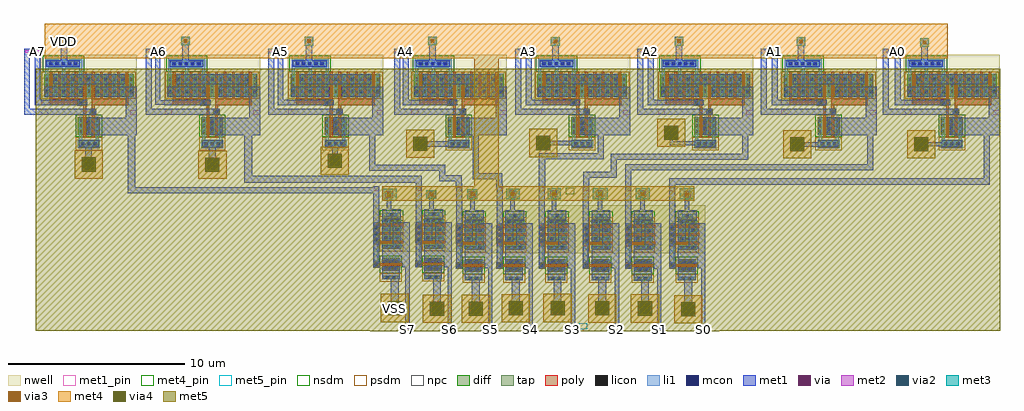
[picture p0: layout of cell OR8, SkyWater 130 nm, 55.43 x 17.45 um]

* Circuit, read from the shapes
.subckt OR8 A0 A1 A2 A3 A4 A5 A6 A7 B0 B1 B2 B3 B4 B5 B6 B7 S0 S1 S2 S3 S4 S5 S6 S7 VDD VSS
XM1 NOT8_0/A7 A7 VSS VSS sky130_fd_pr__nfet_01v8 w=1 l=0.15
XM2 VSS B7 NOT8_0/A7 VSS sky130_fd_pr__nfet_01v8 w=1 l=0.15
XM3 NOT8_0/A6 A6 VSS VSS sky130_fd_pr__nfet_01v8 w=1 l=0.15
XM4 VSS B6 NOT8_0/A6 VSS sky130_fd_pr__nfet_01v8 w=1 l=0.15
XM5 NOT8_0/A5 A5 VSS VSS sky130_fd_pr__nfet_01v8 w=1 l=0.15
XM6 VSS B5 NOT8_0/A5 VSS sky130_fd_pr__nfet_01v8 w=1 l=0.15
XM7 S7 NOT8_0/A7 VSS VSS sky130_fd_pr__nfet_01v8 w=1 l=0.15
XM8 S6 NOT8_0/A6 VSS VSS sky130_fd_pr__nfet_01v8 w=1 l=0.15
XM9 NOT8_0/A4 A4 VSS VSS sky130_fd_pr__nfet_01v8 w=1 l=0.15
XM10 VSS B4 NOT8_0/A4 VSS sky130_fd_pr__nfet_01v8 w=1 l=0.15
XM11 S5 NOT8_0/A5 VSS VSS sky130_fd_pr__nfet_01v8 w=1 l=0.15
XM12 S4 NOT8_0/A4 VSS VSS sky130_fd_pr__nfet_01v8 w=1 l=0.15
XM13 S3 NOT8_0/A3 VSS VSS sky130_fd_pr__nfet_01v8 w=1 l=0.15
XM14 NOT8_0/A3 A3 VSS VSS sky130_fd_pr__nfet_01v8 w=1 l=0.15
XM15 VSS B3 NOT8_0/A3 VSS sky130_fd_pr__nfet_01v8 w=1 l=0.15
XM16 S2 NOT8_0/A2 VSS VSS sky130_fd_pr__nfet_01v8 w=1 l=0.15
XM17 S1 NOT8_0/A1 VSS VSS sky130_fd_pr__nfet_01v8 w=1 l=0.15
XM18 S0 NOT8_0/A0 VSS VSS sky130_fd_pr__nfet_01v8 w=1 l=0.15
XM19 NOT8_0/A2 A2 VSS VSS sky130_fd_pr__nfet_01v8 w=1 l=0.15
XM20 VSS B2 NOT8_0/A2 VSS sky130_fd_pr__nfet_01v8 w=1 l=0.15
XM21 NOT8_0/A1 A1 VSS VSS sky130_fd_pr__nfet_01v8 w=1 l=0.15
XM22 VSS B1 NOT8_0/A1 VSS sky130_fd_pr__nfet_01v8 w=1 l=0.15
XM23 NOT8_0/A0 A0 VSS VSS sky130_fd_pr__nfet_01v8 w=1 l=0.15
XM24 VSS B0 NOT8_0/A0 VSS sky130_fd_pr__nfet_01v8 w=1 l=0.15
XM25 n1 A7 VDD VDD sky130_fd_pr__pfet_01v8 w=1.28 l=0.15 m=5
XM26 NOT8_0/A7 B7 n1 VDD sky130_fd_pr__pfet_01v8 w=1.28 l=0.15 m=5
XM27 n2 A6 VDD VDD sky130_fd_pr__pfet_01v8 w=1.28 l=0.15 m=5
XM28 NOT8_0/A6 B6 n2 VDD sky130_fd_pr__pfet_01v8 w=1.28 l=0.15 m=5
XM29 n3 A5 VDD VDD sky130_fd_pr__pfet_01v8 w=1.28 l=0.15 m=5
XM30 NOT8_0/A5 B5 n3 VDD sky130_fd_pr__pfet_01v8 w=1.28 l=0.15 m=5
XM31 VDD NOT8_0/A7 S7 VDD sky130_fd_pr__pfet_01v8 w=1.07 l=0.15 m=3
XM32 n4 A4 VDD VDD sky130_fd_pr__pfet_01v8 w=1.28 l=0.15 m=5
XM33 VDD NOT8_0/A6 S6 VDD sky130_fd_pr__pfet_01v8 w=1.07 l=0.15 m=3
XM34 NOT8_0/A4 B4 n4 VDD sky130_fd_pr__pfet_01v8 w=1.28 l=0.15 m=5
XM35 VDD NOT8_0/A5 S5 VDD sky130_fd_pr__pfet_01v8 w=1.07 l=0.15 m=3
XM36 VDD NOT8_0/A4 S4 VDD sky130_fd_pr__pfet_01v8 w=1.07 l=0.15 m=3
XM37 n5 A3 VDD VDD sky130_fd_pr__pfet_01v8 w=1.28 l=0.15 m=5
XM38 VDD NOT8_0/A3 S3 VDD sky130_fd_pr__pfet_01v8 w=1.07 l=0.15 m=3
XM39 NOT8_0/A3 B3 n5 VDD sky130_fd_pr__pfet_01v8 w=1.28 l=0.15 m=5
XM40 VDD NOT8_0/A2 S2 VDD sky130_fd_pr__pfet_01v8 w=1.07 l=0.15 m=3
XM41 VDD NOT8_0/A1 S1 VDD sky130_fd_pr__pfet_01v8 w=1.07 l=0.15 m=3
XM42 n6 A2 VDD VDD sky130_fd_pr__pfet_01v8 w=1.28 l=0.15 m=5
XM43 VDD NOT8_0/A0 S0 VDD sky130_fd_pr__pfet_01v8 w=1.07 l=0.15 m=3
XM44 NOT8_0/A2 B2 n6 VDD sky130_fd_pr__pfet_01v8 w=1.28 l=0.15 m=5
XM45 n7 A1 VDD VDD sky130_fd_pr__pfet_01v8 w=1.28 l=0.15 m=5
XM46 NOT8_0/A1 B1 n7 VDD sky130_fd_pr__pfet_01v8 w=1.28 l=0.15 m=5
XM47 n8 A0 VDD VDD sky130_fd_pr__pfet_01v8 w=1.28 l=0.15 m=5
XM48 NOT8_0/A0 B0 n8 VDD sky130_fd_pr__pfet_01v8 w=1.28 l=0.15 m=5
.ends

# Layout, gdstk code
from math import pi, radians
import gdstk
lib = gdstk.Library(unit=1e-6, precision=1e-09)
def R(c, l, rs):  # rectangles x0, y0, x1, y1
    for r in rs: c.add(gdstk.rectangle(r[:2], r[2:], *l))
def A(c, l, x, y, w, h, nx, ny, dx, dy):  # array of equal rectangles
    R(c, l, [(x+i*dx, y+j*dy, x+i*dx+w, y+j*dy+h) for i in range(nx) for j in range(ny)])
nwell = (64, 20)
diff = (65, 20)
tap = (65, 44)
poly = (66, 20)
licon = (66, 44)
li1 = (67, 20)
mcon = (67, 44)
met1_pin = (68, 16)
met1 = (68, 20)
via = (68, 44)
met2 = (69, 20)
via2 = (69, 44)
met3 = (70, 20)
via3 = (70, 44)
met4_pin = (71, 16)
met4 = (71, 20)
via4 = (71, 44)
met5_pin = (72, 16)
met5 = (72, 20)
nsdm = (93, 44)
psdm = (94, 20)
npc = (95, 20)

sky130_fd_pr__nfet_01v8_ = lib.new_cell('sky130_fd_pr__nfet_01v8_6H9P4D')
R(sky130_fd_pr__nfet_01v8_, diff, [(-0.365,-0.5,0.365,0.5)])
R(sky130_fd_pr__nfet_01v8_, poly, [(-0.075,-0.63,0.075,0.63)])
A(sky130_fd_pr__nfet_01v8_, licon, -0.305, -0.425, 0.17, 0.17, 1, 3, 0, 0.34)
A(sky130_fd_pr__nfet_01v8_, licon, 0.135, -0.425, 0.17, 0.17, 1, 3, 0, 0.34)
R(sky130_fd_pr__nfet_01v8_, li1, [(-0.305,-0.52,-0.135,0.52), (0.135,-0.52,0.305,0.52)])
R(sky130_fd_pr__nfet_01v8_, mcon, [(-0.305,-0.265,-0.135,-0.095), (0.135,-0.265,0.305,-0.095), (-0.305,0.095,-0.135,0.265), (0.135,0.095,0.305,0.265)])
R(sky130_fd_pr__nfet_01v8_, met1, [(-0.335,-0.5,-0.105,0.5), (0.105,-0.5,0.335,0.5)])
R(sky130_fd_pr__nfet_01v8_, nsdm, [(-0.49,-0.625,0.49,0.625)])

efepmos_w107_l15_f3 = lib.new_cell('efepmos_W107-L15-F3')
R(efepmos_w107_l15_f3, nwell, [(-1.045,-1.035,1.045,0.845)])
R(efepmos_w107_l15_f3, diff, [(-0.865,-0.535,0.865,0.535)])
A(efepmos_w107_l15_f3, poly, -0.555, -0.69, 0.15, 1.355, 3, 1, 0.48, 0)
R(efepmos_w107_l15_f3, poly, [(-0.645,-1.02,0.645,-0.69)])
A(efepmos_w107_l15_f3, licon, -0.425, -0.94, 0.17, 0.17, 3, 1, 0.34, 0)
A(efepmos_w107_l15_f3, licon, -0.805, -0.425, 0.17, 0.17, 1, 3, 0, 0.34)
A(efepmos_w107_l15_f3, licon, 0.155, -0.425, 0.17, 0.17, 1, 3, 0, 0.34)
A(efepmos_w107_l15_f3, licon, -0.325, -0.415, 0.17, 0.17, 1, 3, 0, 0.34)
A(efepmos_w107_l15_f3, licon, 0.635, -0.415, 0.17, 0.17, 1, 3, 0, 0.34)
R(efepmos_w107_l15_f3, li1, [(-0.645,-0.94,0.645,-0.77), (-0.805,-0.555,-0.635,0.555), (-0.325,-0.555,-0.155,0.585), (0.155,-0.555,0.325,0.555), (0.635,-0.555,0.805,0.585)])
A(efepmos_w107_l15_f3, mcon, -0.445, -0.94, 0.17, 0.17, 3, 1, 0.36, 0)
R(efepmos_w107_l15_f3, mcon, [(-0.805,-0.395,-0.635,-0.225), (0.155,-0.395,0.325,-0.225), (-0.325,0.215,-0.155,0.385), (0.635,0.215,0.805,0.385)])
R(efepmos_w107_l15_f3, met1, [(-0.645,-1.02,0.645,-0.69), (-1.045,-0.535,0.405,-0.08), (-0.405,0.08,1.045,0.535)])
R(efepmos_w107_l15_f3, psdm, [(-0.99,-0.66,0.99,0.66)])
R(efepmos_w107_l15_f3, npc, [(-0.525,-1.04,0.525,-0.67)])

inv = lib.new_cell('inv')
R(inv, nwell, [(1.88,0,2.06,1.83), (1.63,1.44,1.715,1.45), (1.115,1.45,1.715,1.69), (0.505,1.735,0.52,1.83), (0,1.83,2.06,2.43)])
R(inv, tap, [(0.5,-1.555,1.5,-1.34), (0.5,1.91,1.57,2.24)])
R(inv, poly, [(0.015,-0.87,0.35,-0.78), (0.015,-0.78,0.375,-0.63), (0.015,-0.63,0.35,-0.54)])
R(inv, licon, [(0.73,-1.52,0.9,-1.35), (1.07,-1.52,1.24,-1.35), (0.095,-0.79,0.265,-0.62), (0.955,2.04,1.125,2.21)])
R(inv, li1, [(0.575,-1.52,1.395,-1.35), (0.015,-0.87,0.265,1.695), (0.735,2.04,1.35,2.21)])
R(inv, mcon, [(0.72,-1.52,0.89,-1.35), (1.08,-1.52,1.25,-1.35), (0.095,-0.79,0.265,-0.62), (0.955,2.04,1.125,2.21)])
R(inv, met1, [(0.5,-1.555,1.5,-0.805), (0,-0.875,0.345,0.4), (1.64,-0.875,2.06,-0.57), (0.5,-0.57,2.06,0.41), (0,0.4,0.265,1.69), (1.115,0.41,2.06,1.69), (0.505,1.735,0.52,1.83), (0.5,1.83,1.57,2.43)])
R(inv, nsdm, [(0.375,1.785,1.695,2.365)])
R(inv, psdm, [(0.375,-1.68,1.625,-1.215)])
R(inv, npc, [(-0.005,-0.89,0.365,-0.52)])
inv.add(gdstk.Reference(sky130_fd_pr__nfet_01v8_, (1,-0.705), rotation=3*pi/2))
inv.add(gdstk.Reference(efepmos_w107_l15_f3, (1.035,1.045), rotation=3*pi/2))
inv.add(gdstk.Label('A', (0,0.39), layer=68, texttype=16))
inv.add(gdstk.Label('VSS', (0.99,-1.555), layer=68, texttype=16))
inv.add(gdstk.Label('VDD', (1.05,2.43), layer=68, texttype=16))
inv.add(gdstk.Label('Y', (2.06,0.39), layer=68, texttype=16))

not8 = lib.new_cell('NOT8')
R(not8, nwell, [(6.375,1.93,7.705,2.55), (8.655,1.93,9.985,2.55), (11.065,1.93,12.395,2.55), (13.565,1.93,14.895,2.55), (15.965,1.93,17.295,2.55), (1.68,1.99,2.305,2.53), (4.075,2,4.54,2.55), (1.555,2.53,2.305,2.545), (1.555,2.545,2.085,2.55), (-0.38,2.55,18.3,4.36), (-0.38,4.36,18.48,4.64)])
R(not8, met1_pin, [(3.87,-2.48,4.045,-2.315), (6.175,-2.48,6.35,-2.315), (8.47,-2.48,8.645,-2.315), (10.87,-2.48,11.045,-2.315), (1.47,-2.475,1.645,-2.31), (13.37,-2.475,13.545,-2.31), (18.26,-2.475,18.435,-2.31), (15.765,-2.44,15.94,-2.275), (4.36,5.44,4.615,5.675), (16.465,5.44,16.72,5.675), (6.66,5.445,6.915,5.68), (9.065,5.45,9.32,5.685), (13.965,5.45,14.22,5.685), (-0.34,5.455,-0.085,5.69), (2.065,5.455,2.32,5.69), (11.56,5.455,11.815,5.69)])
R(not8, met1, [(1.44,-2.505,1.68,1.115), (3.84,-2.505,4.08,1.185), (6.14,-2.505,6.38,1.1), (8.44,-2.505,8.68,1.095), (10.84,-2.505,11.08,1.08), (13.34,-2.505,13.58,1.095), (15.74,-2.505,15.98,1.095), (18.24,-2.505,18.48,1.145), (17.29,-1.51,17.735,0.445), (3.015,-1.48,3.46,0.445), (5.225,-1.48,5.67,0.445), (14.825,-1.475,15.27,0.445), (12.395,-1.47,12.84,0.445), (7.485,-1.455,7.93,0.445), (0.61,-1.45,1.055,0.445), (9.86,-1.45,10.305,0.445), (11.52,3.59,11.865,5.715), (16.42,3.59,16.765,5.715), (9.02,3.595,9.365,5.715), (13.92,3.605,14.265,5.715), (6.62,3.61,6.965,5.715), (4.32,3.615,4.665,5.715), (2.02,3.675,2.365,5.715), (-0.38,3.68,-0.035,5.715), (7.4,4.335,7.66,5.44), (12.355,4.335,12.615,5.455), (9.745,4.34,10.005,5.455), (14.77,4.34,15.03,5.455), (17.315,4.345,17.575,5.425), (5.115,4.35,5.375,5.43), (0.385,4.38,0.645,5.4), (2.79,4.38,3.05,5.42)])
R(not8, via, [(17.435,-1.335,17.585,-1.185), (3.16,-1.305,3.31,-1.155), (5.37,-1.305,5.52,-1.155), (14.97,-1.3,15.12,-1.15), (12.54,-1.295,12.69,-1.145), (7.63,-1.28,7.78,-1.13), (0.755,-1.275,0.905,-1.125), (10.005,-1.275,10.155,-1.125), (0.44,5.165,0.59,5.315), (2.845,5.185,2.995,5.335), (17.37,5.19,17.52,5.34), (5.17,5.195,5.32,5.345), (7.455,5.205,7.605,5.355), (9.8,5.22,9.95,5.37), (12.41,5.22,12.56,5.37), (14.825,5.22,14.975,5.37)])
R(not8, met2, [(17.265,-1.535,17.76,-1.48), (2.99,-1.505,3.485,-1.45), (5.2,-1.505,5.695,-1.45), (14.8,-1.5,15.295,-1.445), (12.37,-1.495,12.865,-1.44), (7.46,-1.48,7.955,-1.425), (17.26,-1.48,17.765,-1.035), (9.835,-1.475,10.33,-1.42), (2.985,-1.45,3.49,-1.005), (5.195,-1.45,5.7,-1.005), (14.795,-1.445,15.3,-1), (12.365,-1.44,12.87,-0.995), (7.455,-1.425,7.96,-0.98), (0.565,-1.42,1.1,-0.975), (9.83,-1.42,10.335,-0.975), (17.265,-1.035,17.76,-0.98), (2.99,-1.005,3.485,-0.95), (5.2,-1.005,5.695,-0.95), (14.8,-1,15.295,-0.945), (12.37,-0.995,12.865,-0.94), (7.46,-0.98,7.955,-0.925), (9.835,-0.975,10.33,-0.92), (0.31,5.035,0.72,5.445), (2.715,5.055,3.125,5.465), (17.24,5.06,17.65,5.47), (5.04,5.065,5.45,5.475), (7.325,5.075,7.735,5.485), (9.67,5.09,10.08,5.5), (12.28,5.09,12.69,5.5), (14.695,5.09,15.105,5.5)])
R(not8, via2, [(17.41,-1.36,17.61,-1.16), (3.135,-1.33,3.335,-1.13), (5.345,-1.33,5.545,-1.13), (14.945,-1.325,15.145,-1.125), (12.515,-1.32,12.715,-1.12), (7.605,-1.305,7.805,-1.105), (0.73,-1.3,0.93,-1.1), (9.98,-1.3,10.18,-1.1), (0.415,5.14,0.615,5.34), (2.82,5.16,3.02,5.36), (17.345,5.165,17.545,5.365), (5.145,5.17,5.345,5.37), (7.43,5.18,7.63,5.38), (9.775,5.195,9.975,5.395), (12.385,5.195,12.585,5.395), (14.8,5.195,15,5.395)])
R(not8, met3, [(0.46,-1.575,1.21,-0.84), (17.235,-1.505,17.79,-1.01), (2.96,-1.475,3.515,-0.98), (5.17,-1.475,5.725,-0.98), (14.77,-1.47,15.325,-0.975), (12.34,-1.465,12.895,-0.97), (7.43,-1.45,7.985,-0.955), (9.805,-1.445,10.36,-0.95), (0.135,4.9,0.955,5.595), (7.165,4.985,7.94,5.57), (9.515,4.985,10.27,5.62), (12.095,4.985,12.94,5.62), (14.535,4.985,15.31,5.62), (17.02,4.985,17.85,5.61), (4.955,4.99,5.53,5.545), (2.635,5.01,3.19,5.51)])
R(not8, via3, [(17.41,-1.36,17.61,-1.16), (3.135,-1.33,3.335,-1.13), (5.345,-1.33,5.545,-1.13), (14.945,-1.325,15.145,-1.125), (12.515,-1.32,12.715,-1.12), (7.605,-1.305,7.805,-1.105), (0.73,-1.3,0.93,-1.1), (9.98,-1.3,10.18,-1.1), (0.415,5.14,0.615,5.34), (2.82,5.16,3.02,5.36), (17.345,5.165,17.545,5.365), (5.145,5.17,5.345,5.37), (7.43,5.18,7.63,5.38), (9.775,5.195,9.975,5.395), (12.385,5.195,12.585,5.395), (14.8,5.195,15,5.395)])
R(not8, met4_pin, [(10.54,5.28,11.03,5.63)])
R(not8, met4, [(16.715,-2.055,18.315,-0.455), (2.44,-2.025,4.04,-0.425), (4.65,-2.025,6.25,-0.425), (14.25,-2.02,15.85,-0.42), (11.82,-2.015,13.42,-0.415), (6.91,-2,8.51,-0.4), (0.035,-1.995,1.635,-0.395), (9.285,-1.995,10.885,-0.395), (0.135,4.9,17.84,4.985), (0.135,4.985,17.85,5.715)])
R(not8, via4, [(17.115,-1.655,17.915,-0.855), (2.84,-1.625,3.64,-0.825), (5.05,-1.625,5.85,-0.825), (14.65,-1.62,15.45,-0.82), (12.22,-1.615,13.02,-0.815), (7.31,-1.6,8.11,-0.8), (0.435,-1.595,1.235,-0.795), (9.685,-1.595,10.485,-0.795)])
R(not8, met5_pin, [(11.29,-2.41,11.78,-2.06)])
R(not8, met5, [(-0.55,-2.505,19.265,-0.12), (-0.55,-0.12,2.175,-0.11)])
not8.add(gdstk.Reference(inv, (16.42,1.93)))
not8.add(gdstk.Reference(inv, (13.92,1.925)))
not8.add(gdstk.Reference(inv, (11.52,1.93)))
not8.add(gdstk.Reference(inv, (6.62,1.93)))
not8.add(gdstk.Reference(inv, (4.32,1.93)))
not8.add(gdstk.Reference(inv, (2.02,2)))
not8.add(gdstk.Reference(inv, (-0.38,1.99)))
not8.add(gdstk.Reference(inv, (9.02,1.93)))
not8.add(gdstk.Label('A7', (-0.212,5.572), layer=68, texttype=16))
not8.add(gdstk.Label('A6', (2.192,5.572), layer=68, texttype=16))
not8.add(gdstk.Label('A5', (4.487,5.557), layer=68, texttype=16))
not8.add(gdstk.Label('A4', (6.787,5.562), layer=68, texttype=16))
not8.add(gdstk.Label('A3', (9.192,5.567), layer=68, texttype=16))
not8.add(gdstk.Label('A2', (11.687,5.572), layer=68, texttype=16))
not8.add(gdstk.Label('A1', (14.092,5.567), layer=68, texttype=16))
not8.add(gdstk.Label('A0', (16.592,5.557), layer=68, texttype=16))
not8.add(gdstk.Label('S0', (18.347,-2.392), layer=68, texttype=16))
not8.add(gdstk.Label('S1', (15.852,-2.357), layer=68, texttype=16))
not8.add(gdstk.Label('S2', (13.457,-2.392), layer=68, texttype=16))
not8.add(gdstk.Label('S3', (10.957,-2.397), layer=68, texttype=16))
not8.add(gdstk.Label('S4', (8.557,-2.397), layer=68, texttype=16))
not8.add(gdstk.Label('S5', (6.262,-2.397), layer=68, texttype=16))
not8.add(gdstk.Label('S6', (3.957,-2.397), layer=68, texttype=16))
not8.add(gdstk.Label('S7', (1.557,-2.392), layer=68, texttype=16))
not8.add(gdstk.Label('VDD', (10.785,5.455), layer=71, texttype=16))
not8.add(gdstk.Label('VSS', (11.535,-2.235), layer=72, texttype=16))

sky130_fd_pr__pfet_01v8_ = lib.new_cell('sky130_fd_pr__pfet_01v8_UFBY79')
R(sky130_fd_pr__pfet_01v8_, nwell, [(-2.725,-1.14,2.725,1.14)])
R(sky130_fd_pr__pfet_01v8_, diff, [(-2.545,-0.64,2.545,0.64)])
A(sky130_fd_pr__pfet_01v8_, poly, -2.235, -0.77, 0.15, 1.54, 10, 1, 0.48, 0)
R(sky130_fd_pr__pfet_01v8_, poly, [(-2.235,-1.125,-0.165,-0.77), (0.165,-1.125,2.235,-0.77)])
A(sky130_fd_pr__pfet_01v8_, licon, -2.485, -0.425, 0.17, 0.17, 11, 3, 0.48, 0.34)
A(sky130_fd_pr__pfet_01v8_, li1, -2.485, -0.66, 0.17, 1.32, 11, 1, 0.48, 0)
A(sky130_fd_pr__pfet_01v8_, mcon, -2.485, -0.44, 0.17, 0.17, 6, 1, 0.96, 0)
A(sky130_fd_pr__pfet_01v8_, mcon, -2.005, 0.27, 0.17, 0.17, 5, 1, 0.96, 0)
A(sky130_fd_pr__pfet_01v8_, met1, -2.515, -0.64, 0.23, 0.57, 6, 1, 0.96, 0)
A(sky130_fd_pr__pfet_01v8_, met1, -2.035, 0.07, 0.23, 0.57, 5, 1, 0.96, 0)
R(sky130_fd_pr__pfet_01v8_, psdm, [(-2.67,-0.765,2.67,0.765)])

c_sky130_fd_pr__nfet_01v8_ = lib.new_cell('sky130_fd_pr__nfet_01v8_LZEQWH')
R(c_sky130_fd_pr__nfet_01v8_, diff, [(-0.625,-0.5,0.625,0.5)])
R(c_sky130_fd_pr__nfet_01v8_, poly, [(-0.315,-0.63,-0.165,0.63), (0.165,-0.63,0.315,0.63)])
A(c_sky130_fd_pr__nfet_01v8_, licon, -0.565, -0.425, 0.17, 0.17, 3, 3, 0.48, 0.34)
A(c_sky130_fd_pr__nfet_01v8_, li1, -0.565, -0.52, 0.17, 1.04, 3, 1, 0.48, 0)
R(c_sky130_fd_pr__nfet_01v8_, mcon, [(-0.085,-0.265,0.085,-0.095), (-0.085,0.095,0.085,0.265)])
R(c_sky130_fd_pr__nfet_01v8_, met1, [(-0.115,-0.5,0.115,0.5)])
R(c_sky130_fd_pr__nfet_01v8_, nsdm, [(-0.75,-0.625,0.75,0.625)])

nor2 = lib.new_cell('nor2')
R(nor2, nwell, [(0.21,1.75,2.43,1.98), (0.005,1.98,5.45,2.295), (0,2.295,5.45,2.9)])
R(nor2, tap, [(2.1,-2.4,3.35,-1.92), (0.23,2.065,2.33,2.72)])
R(nor2, poly, [(2.41,-0.57,2.56,0.03), (2.89,-0.565,3.04,-0.51), (2.8,-0.51,3.13,-0.18), (2.89,-0.18,3.04,0.03), (2.085,0.095,2.415,0.265)])
A(nor2, licon, 2.3, -2.245, 0.17, 0.17, 3, 1, 0.34, 0)
A(nor2, licon, 0.495, 2.295, 0.17, 0.17, 5, 1, 0.34, 0)
R(nor2, licon, [(2.88,-0.43,3.05,-0.26), (2.165,0.095,2.335,0.265)])
A(nor2, li1, 0.24, 1.815, 0.17, 0.345, 3, 1, 0.96, 0)
R(nor2, li1, [(2.1,-2.37,3.35,-1.95), (2.16,-1.95,2.33,-1.67), (3.12,-1.95,3.29,-1.67), (2.8,-0.43,3.13,-0.26), (2.085,0.095,2.415,0.265), (0.23,2.16,2.33,2.61)])
A(nor2, mcon, 2.28, -2.245, 0.17, 0.17, 3, 1, 0.36, 0)
A(nor2, mcon, 0.455, 2.295, 0.17, 0.17, 5, 1, 0.36, 0)
R(nor2, mcon, [(2.88,-0.43,3.05,-0.26), (2.165,0.095,2.335,0.265)])
R(nor2, met1_pin, [(5.06,-0.51,5.445,-0.25), (0.04,-0.48,0.425,-0.22), (0.035,0.05,0.42,0.31)])
R(nor2, met1, [(2.17,-2.34,3.285,-1.97), (2.84,-1.68,5.185,-1.675), (2.84,-1.675,5.44,-1.67), (2.84,-1.67,5.45,-0.68), (4.825,-0.68,5.45,0.515), (0,-0.51,3.13,-0.18), (0,0.015,2.63,0.345), (0.44,0.515,2.13,1.085), (3.32,0.515,5.45,1.085), (0.92,1.225,2.61,1.795), (2.84,1.225,3.57,1.795), (3.8,1.225,4.53,1.795), (0.31,2.22,2.215,2.55)])
R(nor2, nsdm, [(0.105,1.94,2.455,2.845)])
R(nor2, psdm, [(1.975,-2.525,3.475,-1.795)])
R(nor2, npc, [(2.78,-0.53,3.15,-0.16), (2.065,-0.005,2.435,0.365)])
nor2.add(gdstk.Reference(sky130_fd_pr__pfet_01v8_, (2.725,1.155)))
nor2.add(gdstk.Reference(c_sky130_fd_pr__nfet_01v8_, (2.725,-1.15), rotation=pi))
nor2.add(gdstk.Label('A', (0.227,0.18), layer=68, texttype=16))
nor2.add(gdstk.Label('B', (0.232,-0.35), layer=68, texttype=16))
nor2.add(gdstk.Label('VSS', (2.745,-2.34), layer=68, texttype=16))
nor2.add(gdstk.Label('VDD', (1.265,2.55), layer=68, texttype=16))
nor2.add(gdstk.Label('Y', (5.252,-0.38), layer=68, texttype=16))

or8 = lib.new_cell('OR8')
A(or8, met1_pin, 33.12, -19.37, 0.17, 0.16, 3, 1, 2.3, 0)
R(or8, met1_pin, [(45.02,-19.38,45.19,-19.22), (30.72,-19.37,30.89,-19.21), (40.12,-19.37,40.29,-19.21), (42.62,-19.37,42.79,-19.21), (47.52,-19.37,47.69,-19.21), (22.96,-3.61,23.17,-3.47), (23.49,-3.61,23.7,-3.47), (37.01,-3.61,37.22,-3.47), (37.58,-3.61,37.79,-3.47), (43.92,-3.61,44.13,-3.47), (44.52,-3.61,44.73,-3.47), (9.11,-3.59,9.32,-3.45), (9.68,-3.59,9.89,-3.45), (30.13,-3.59,30.34,-3.45), (30.6,-3.59,30.81,-3.45), (58.54,-3.59,58.75,-3.45), (50.91,-3.58,51.12,-3.44), (51.56,-3.58,51.77,-3.44), (57.87,-3.58,58.08,-3.44), (16,-3.57,16.21,-3.43), (16.54,-3.57,16.75,-3.43)])
A(or8, met1, 33.1, -19.39, 0.22, 0.21, 3, 1, 2.3, 0)
R(or8, met1, [(30.7,-19.39,30.92,-19.18), (40.1,-19.39,40.32,-19.18), (42.6,-19.39,42.82,-19.18), (45,-19.39,45.22,-19.18), (47.5,-19.39,47.72,-19.18), (40.78,-11.75,41.125,-10.68), (14.93,-11.57,29.215,-11.225), (31.27,-11.525,31.615,-11.04), (33.57,-11.525,33.915,-11.24), (35.87,-11.525,36.215,-11.3), (38.27,-11.525,38.615,-11.34), (43.17,-11.525,43.515,-10.275), (45.67,-11.525,46.015,-11.075), (38.27,-11.34,38.625,-11.04), (35.855,-11.3,36.215,-11.04), (33.555,-11.24,33.915,-11.04), (14.93,-11.225,15.35,-8.2), (45.67,-11.075,63.87,-10.73), (31.27,-11.04,31.61,-10.98), (33.555,-11.04,33.9,-10.88), (35.855,-11.04,36.2,-10.78), (38.28,-11.04,38.625,-9.63), (21.55,-10.98,31.61,-10.57), (32.605,-10.88,33.9,-10.535), (34.525,-10.78,36.2,-10.435), (63.525,-10.73,63.87,-7.93), (40.78,-10.68,42.705,-10.335), (21.55,-10.57,22,-8.21), (32.605,-10.535,32.95,-10.3), (34.525,-10.435,34.87,-8.03), (42.36,-10.335,42.705,-9.675), (28.63,-10.3,32.95,-9.955), (43.17,-10.275,57.27,-9.93), (19.47,-10.21,20.02,-9.66), (12.44,-10.2,12.97,-9.67), (26.46,-9.96,26.92,-9.5), (28.63,-9.955,28.975,-7.93), (56.925,-9.93,57.27,-7.83), (42.36,-9.675,50.17,-9.33), (12.52,-9.67,12.89,-8.91), (19.54,-9.66,19.93,-8.79), (38.28,-9.63,41.97,-9.285), (26.53,-9.5,26.85,-8.74), (49.825,-9.33,50.17,-7.73), (41.625,-9.285,41.97,-7.93), (52.73,-9.02,53.18,-8.93), (31.31,-9.01,31.79,-8.92), (59.76,-9.01,60.21,-8.91), (52.73,-8.93,54.2,-8.66), (31.31,-8.92,33.28,-8.61), (38.32,-8.92,38.72,-8.83), (59.76,-8.91,61.2,-8.68), (38.32,-8.83,40.26,-8.6), (45.71,-8.83,47.24,-8.61), (59.76,-8.68,60.21,-8.57), (52.73,-8.66,53.18,-8.57), (31.31,-8.61,31.79,-8.54), (45.71,-8.61,45.89,-8.35), (38.32,-8.6,38.72,-8.52), (45.58,-8.35,46.01,-7.92), (21.555,-8.21,21.815,-7.65), (14.93,-8.2,15.275,-7.93), (9.035,-7.11,10.33,-6.78), (15.955,-7.11,17.33,-6.78), (22.905,-7.11,24.355,-6.78), (30.065,-7.11,31.385,-6.78), (36.945,-7.11,38.33,-6.78), (43.865,-7.11,45.365,-6.78), (50.875,-7.11,52.435,-6.78), (57.815,-7.11,59.465,-6.78), (9.035,-6.78,9.365,-3.37), (15.955,-6.78,16.285,-3.37), (22.905,-6.78,23.235,-3.37), (30.065,-6.78,30.395,-3.37), (36.945,-6.78,37.275,-3.37), (43.865,-6.78,44.195,-3.37), (50.875,-6.78,51.205,-3.37), (57.815,-6.78,58.145,-3.37), (9.635,-6.585,10.33,-6.255), (23.435,-6.585,24.33,-6.255), (30.545,-6.585,31.33,-6.255), (37.535,-6.585,38.345,-6.255), (44.455,-6.585,45.395,-6.255), (51.495,-6.585,52.385,-6.255), (58.485,-6.585,59.33,-6.255), (16.5,-6.55,17.3,-6.285), (16.5,-6.285,16.765,-3.37), (9.635,-6.255,9.965,-3.37), (23.435,-6.255,23.765,-3.37), (30.545,-6.255,30.875,-3.37), (37.535,-6.255,37.865,-3.37), (44.455,-6.255,44.785,-3.37), (51.495,-6.255,51.825,-3.37), (58.485,-6.255,58.815,-3.37), (11.12,-4.34,11.49,-3.2), (32.05,-4.08,32.42,-3.17), (39.02,-4.08,39.39,-3.19), (59.99,-4.08,60.36,-3.26), (25.03,-4.07,25.4,-3.18), (52.98,-4.07,53.35,-3.2), (18.02,-4.06,18.39,-3.17), (46.05,-4.06,46.42,-3.18), (59.93,-3.26,60.42,-2.77), (11.06,-3.2,11.55,-2.71), (52.92,-3.2,53.41,-2.71), (38.96,-3.19,39.45,-2.7), (24.97,-3.18,25.46,-2.69), (45.99,-3.18,46.48,-2.69), (17.96,-3.17,18.45,-2.68), (31.99,-3.17,32.48,-2.68)])
R(or8, via, [(19.66,-10.02,19.81,-9.87), (12.63,-10.01,12.78,-9.86), (26.615,-9.795,26.765,-9.645), (52.88,-8.87,53.03,-8.72), (59.91,-8.87,60.06,-8.72), (31.47,-8.84,31.62,-8.69), (38.45,-8.79,38.6,-8.64), (45.725,-8.215,45.875,-8.065), (60.1,-3.09,60.25,-2.94), (11.23,-3.03,11.38,-2.88), (53.09,-3.03,53.24,-2.88), (39.13,-3.02,39.28,-2.87), (25.14,-3.01,25.29,-2.86), (46.16,-3.01,46.31,-2.86), (18.13,-3,18.28,-2.85), (32.16,-3,32.31,-2.85)])
R(or8, met2, [(19.47,-10.21,20.02,-9.66), (12.44,-10.2,12.97,-9.67), (26.46,-9.96,26.92,-9.5), (52.73,-9.02,53.18,-8.57), (31.31,-9.01,31.79,-8.54), (59.76,-9.01,60.21,-8.57), (38.32,-8.92,38.72,-8.52), (45.58,-8.35,46.01,-7.92), (59.93,-3.26,60.42,-2.77), (11.06,-3.2,11.55,-2.71), (52.92,-3.2,53.41,-2.71), (38.96,-3.19,39.45,-2.7), (24.97,-3.18,25.46,-2.69), (45.99,-3.18,46.48,-2.69), (17.96,-3.17,18.45,-2.68), (31.99,-3.17,32.48,-2.68)])
R(or8, via2, [(19.635,-10.045,19.835,-9.845), (12.605,-10.035,12.805,-9.835), (26.59,-9.82,26.79,-9.62), (52.855,-8.895,53.055,-8.695), (59.885,-8.895,60.085,-8.695), (31.445,-8.865,31.645,-8.665), (38.425,-8.815,38.625,-8.615), (45.7,-8.24,45.9,-8.04), (60.075,-3.115,60.275,-2.915), (11.205,-3.055,11.405,-2.855), (53.065,-3.055,53.265,-2.855), (39.105,-3.045,39.305,-2.845), (25.115,-3.035,25.315,-2.835), (46.135,-3.035,46.335,-2.835), (18.105,-3.025,18.305,-2.825), (32.135,-3.025,32.335,-2.825)])
R(or8, met3, [(19.47,-10.21,20.02,-9.66), (12.44,-10.2,12.97,-9.67), (26.44,-9.97,26.93,-9.47), (52.66,-9.08,53.27,-8.5), (59.68,-9.08,60.29,-8.5), (31.27,-9.04,31.82,-8.5), (38.25,-9,38.82,-8.43), (45.49,-8.45,46.1,-7.82), (59.93,-3.26,60.42,-2.77), (11.06,-3.2,11.55,-2.71), (52.92,-3.2,53.41,-2.71), (38.96,-3.19,39.45,-2.7), (24.97,-3.18,25.46,-2.69), (45.99,-3.18,46.48,-2.69), (17.96,-3.17,18.45,-2.68), (31.99,-3.17,32.48,-2.68)])
R(or8, via3, [(19.635,-10.045,19.835,-9.845), (12.605,-10.035,12.805,-9.835), (26.59,-9.82,26.79,-9.62), (52.855,-8.895,53.055,-8.695), (59.885,-8.895,60.085,-8.695), (31.445,-8.865,31.645,-8.665), (38.425,-8.815,38.625,-8.615), (45.7,-8.24,45.9,-8.04), (60.075,-3.115,60.275,-2.915), (11.205,-3.055,11.405,-2.855), (53.065,-3.055,53.265,-2.855), (39.105,-3.045,39.305,-2.845), (25.115,-3.035,25.315,-2.835), (46.135,-3.035,46.335,-2.835), (18.105,-3.025,18.305,-2.825), (32.135,-3.025,32.335,-2.825)])
R(or8, met4_pin, [(11.09,-3.17,11.51,-2.74)])
R(or8, met4, [(34.59,-11.96,35.99,-3.89), (18.935,-10.745,20.535,-9.145), (11.905,-10.735,13.505,-9.135), (25.89,-10.52,27.49,-8.92), (52.155,-9.595,53.755,-7.995), (59.185,-9.595,60.785,-7.995), (30.745,-9.565,32.345,-7.965), (37.725,-9.515,39.325,-7.915), (45,-8.94,46.6,-7.34), (10.21,-3.89,61.5,-1.95)])
R(or8, via4, [(19.335,-10.345,20.135,-9.545), (12.305,-10.335,13.105,-9.535), (26.29,-10.12,27.09,-9.32), (52.555,-9.195,53.355,-8.395), (59.585,-9.195,60.385,-8.395), (31.145,-9.165,31.945,-8.365), (38.125,-9.115,38.925,-8.315), (45.4,-8.54,46.2,-7.74)])
R(or8, met5_pin, [(29.83,-18.35,30.33,-17.84)])
R(or8, met5, [(60.77,-19.39,64.46,-19.37), (9.7,-19.37,64.46,-4.49)])
or8.add(gdstk.Reference(not8, (29.25,-16.895)))
or8.add(gdstk.Reference(nor2, (52,-6.6)))
or8.add(gdstk.Reference(nor2, (45,-6.6)))
or8.add(gdstk.Reference(nor2, (38,-6.6)))
or8.add(gdstk.Reference(nor2, (31,-6.6)))
or8.add(gdstk.Reference(nor2, (24,-6.6)))
or8.add(gdstk.Reference(nor2, (17,-6.6)))
or8.add(gdstk.Reference(nor2, (10,-6.6)))
or8.add(gdstk.Reference(nor2, (59,-6.6)))
or8.add(gdstk.Label('A7', (9.785,-3.52), layer=68, texttype=16))
or8.add(gdstk.Label('A6', (16.645,-3.5), layer=68, texttype=16))
or8.add(gdstk.Label('A5', (23.595,-3.54), layer=68, texttype=16))
or8.add(gdstk.Label('A4', (30.705,-3.52), layer=68, texttype=16))
or8.add(gdstk.Label('A3', (37.685,-3.54), layer=68, texttype=16))
or8.add(gdstk.Label('A2', (44.625,-3.54), layer=68, texttype=16))
or8.add(gdstk.Label('A1', (51.665,-3.51), layer=68, texttype=16))
or8.add(gdstk.Label('A0', (58.645,-3.52), layer=68, texttype=16))
or8.add(gdstk.Label('B0', (57.975,-3.51), layer=68, texttype=16))
or8.add(gdstk.Label('B1', (51.015,-3.51), layer=68, texttype=16))
or8.add(gdstk.Label('B2', (44.025,-3.54), layer=68, texttype=16))
or8.add(gdstk.Label('B3', (37.115,-3.54), layer=68, texttype=16))
or8.add(gdstk.Label('B4', (30.235,-3.52), layer=68, texttype=16))
or8.add(gdstk.Label('B5', (23.065,-3.54), layer=68, texttype=16))
or8.add(gdstk.Label('B6', (16.105,-3.5), layer=68, texttype=16))
or8.add(gdstk.Label('B7', (9.215,-3.52), layer=68, texttype=16))
or8.add(gdstk.Label('S7', (30.805,-19.29), layer=68, texttype=16))
or8.add(gdstk.Label('S6', (33.205,-19.29), layer=68, texttype=16))
or8.add(gdstk.Label('S5', (35.505,-19.29), layer=68, texttype=16))
or8.add(gdstk.Label('S4', (37.805,-19.29), layer=68, texttype=16))
or8.add(gdstk.Label('S3', (40.205,-19.29), layer=68, texttype=16))
or8.add(gdstk.Label('S2', (42.705,-19.29), layer=68, texttype=16))
or8.add(gdstk.Label('S1', (45.105,-19.3), layer=68, texttype=16))
or8.add(gdstk.Label('S0', (47.605,-19.29), layer=68, texttype=16))
or8.add(gdstk.Label('VDD', (11.3,-2.955), layer=71, texttype=16))
or8.add(gdstk.Label('VSS', (30.08,-18.095), layer=72, texttype=16))

lib.write_gds('OR8.gds')
